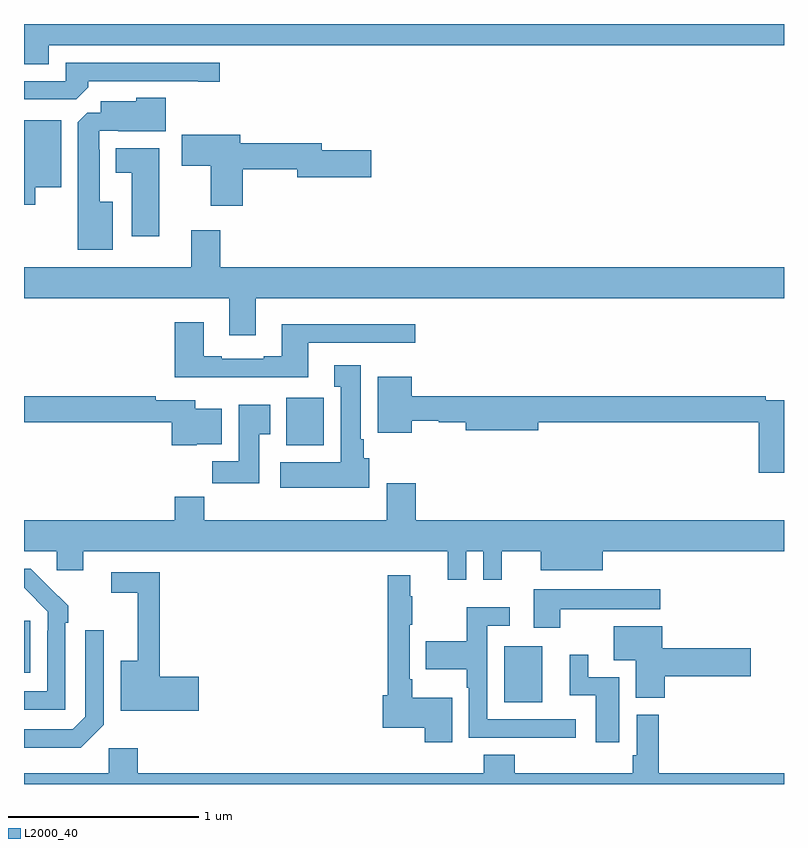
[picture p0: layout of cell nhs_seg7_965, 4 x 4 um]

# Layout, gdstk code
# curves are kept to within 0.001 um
import gdstk
lib = gdstk.Library(unit=1e-6, precision=1e-09)
def R(c, l, rs):  # rectangles x0, y0, x1, y1
    for r in rs: c.add(gdstk.rectangle(r[:2], r[2:], *l))
def P(c, l, *ps):  # polygons
    for p in ps: c.add(gdstk.Polygon(p, *l))
L2000_40 = (2000, 40)

nhs_seg7_965 = lib.new_cell('nhs_seg7_965')
R(nhs_seg7_965, L2000_40, [(183.527,1058.429,183.727,1058.725), (181,1058.585,181.033,1058.86), (182.381,1059.782,182.577,1060.033)])
P(nhs_seg7_965, L2000_40, [(181.129,1061.888),(185,1061.888),(185,1062),(181,1062),(181,1061.789),(181.129,1061.789)],
  [(181.337,1061.666),(181.337,1061.7),(181.916,1061.7),(181.916,1061.695),(182.029,1061.695),(182.029,1061.796),(181.221,1061.796),(181.221,1061.7),(181,1061.7),(181,1061.604),(181.275,1061.604)],
  [(181.468,1061.065),(181.399,1061.065),(181.399,1061.339),(181.395,1061.339),(181.395,1061.439),(181.495,1061.439),(181.495,1061.435),(181.747,1061.435),(181.747,1061.611),(181.59,1061.611),(181.59,1061.593),(181.403,1061.593),(181.403,1061.532),(181.332,1061.532),(181.283,1061.483),(181.283,1060.811),(181.468,1060.811)],
  [(181.06,1061.141),(181.195,1061.141),(181.195,1061.494),(181,1061.494),(181,1061.049),(181.06,1061.049)],
  [(182.15,1061.236),(182.438,1061.236),(182.438,1061.194),(182.827,1061.194),(182.827,1061.336),(182.566,1061.336),(182.566,1061.372),(182.137,1061.372),(182.137,1061.416),(181.83,1061.416),(181.83,1061.254),(181.982,1061.254),(181.982,1061.043),(182.15,1061.043)],
  [(181.711,1061.347),(181.484,1061.347),(181.484,1061.216),(181.568,1061.216),(181.568,1060.884),(181.711,1060.884)],
  [(182.221,1060.556),(185,1060.556),(185,1060.72),(182.033,1060.72),(182.033,1060.915),(181.88,1060.915),(181.88,1060.72),(181,1060.72),(181,1060.556),(182.081,1060.556),(182.081,1060.362),(182.221,1060.362)],
  [(182.497,1060.323),(183.058,1060.323),(183.058,1060.42),(182.357,1060.42),(182.357,1060.252),(182.261,1060.252),(182.261,1060.239),(182.041,1060.239),(182.041,1060.252),(181.945,1060.252),(181.945,1060.429),(181.793,1060.429),(181.793,1060.142),(182.497,1060.142)],
  [(182.818,1059.714),(182.788,1059.714),(182.788,1059.814),(182.773,1059.814),(182.773,1060.204),(182.633,1060.204),(182.633,1060.091),(182.666,1060.091),(182.666,1059.694),(182.349,1059.694),(182.349,1059.56),(182.818,1059.56)],
  [(185,1060.02),(184.904,1060.02),(184.904,1060.04),(183.04,1060.04),(183.04,1060.144),(182.861,1060.144),(182.861,1059.848),(183.04,1059.848),(183.04,1059.912),(183.183,1059.912),(183.183,1059.904),(183.326,1059.904),(183.326,1059.862),(183.706,1059.862),(183.706,1059.904),(184.868,1059.904),(184.868,1059.639),(185,1059.639)],
  [(181.908,1059.788),(182.041,1059.788),(182.041,1059.976),(181.9,1059.976),(181.9,1060.02),(181.694,1060.02),(181.694,1060.04),(181,1060.04),(181,1059.904),(181.778,1059.904),(181.778,1059.782),(181.908,1059.782)],
  [(182.239,1059.841),(182.296,1059.841),(182.296,1059.997),(182.129,1059.997),(182.129,1059.7),(181.99,1059.7),(181.99,1059.582),(182.239,1059.582)],
  [(183.062,1059.583),(182.909,1059.583),(182.909,1059.388),(181.949,1059.388),(181.949,1059.512),(181.793,1059.512),(181.793,1059.388),(181,1059.388),(181,1059.224),(181.173,1059.224),(181.173,1059.126),(181.312,1059.126),(181.312,1059.224),(183.23,1059.224),(183.23,1059.075),(183.327,1059.075),(183.327,1059.224),(183.417,1059.224),(183.417,1059.075),(183.515,1059.075),(183.515,1059.224),(183.719,1059.224),(183.719,1059.125),(184.045,1059.125),(184.045,1059.224),(185,1059.224),(185,1059.388),(183.062,1059.388)],
  [(181.218,1058.849),(181.233,1058.849),(181.233,1058.937),(181.036,1059.132),(181,1059.132),(181,1059.033),(181.125,1058.907),(181.125,1058.807),(181.122,1058.807),(181.122,1058.487),(181,1058.487),(181,1058.391),(181.218,1058.391)],
  [(181.921,1058.564),(181.715,1058.564),(181.715,1059.114),(181.458,1059.114),(181.458,1059.006),(181.598,1059.006),(181.598,1058.65),(181.508,1058.65),(181.508,1058.386),(181.921,1058.386)],
  [(183.253,1058.455),(183.043,1058.455),(183.043,1058.551),(183.03,1058.551),(183.03,1058.839),(183.043,1058.839),(183.043,1058.987),(183.032,1058.987),(183.032,1059.1),(182.914,1059.1),(182.914,1058.468),(182.888,1058.468),(182.888,1058.297),(183.11,1058.297),(183.11,1058.22),(183.253,1058.22)],
  [(183.823,1058.921),(184.348,1058.921),(184.348,1059.025),(183.683,1059.025),(183.683,1058.823),(183.823,1058.823)],
  [(183.904,1058.34),(183.438,1058.34),(183.438,1058.832),(183.556,1058.832),(183.556,1058.929),(183.33,1058.929),(183.33,1058.751),(183.115,1058.751),(183.115,1058.603),(183.33,1058.603),(183.33,1058.507),(183.342,1058.507),(183.342,1058.244),(183.667,1058.244),(183.667,1058.243),(183.904,1058.243)],
  [(184.373,1058.567),(184.825,1058.567),(184.825,1058.714),(184.36,1058.714),(184.36,1058.83),(184.103,1058.83),(184.103,1058.651),(184.22,1058.651),(184.22,1058.454),(184.373,1058.454)],
  [(181.419,1058.313),(181.419,1058.809),(181.323,1058.809),(181.323,1058.355),(181.257,1058.289),(181,1058.289),(181,1058.192),(181.298,1058.192)],
  [(184.132,1058.562),(183.97,1058.562),(183.97,1058.68),(183.872,1058.68),(183.872,1058.466),(184.01,1058.466),(184.01,1058.22),(184.132,1058.22)],
  [(183.419,1058.155),(183.419,1058.056),(181.598,1058.056),(181.598,1058.188),(181.446,1058.188),(181.446,1058.056),(181,1058.056),(181,1058),(185,1058),(185,1058.056),(184.34,1058.056),(184.34,1058.365),(184.224,1058.365),(184.224,1058.152),(184.204,1058.152),(184.204,1058.056),(183.584,1058.056),(183.584,1058.155)])

lib.write_gds('nhs_seg7_965.gds')
